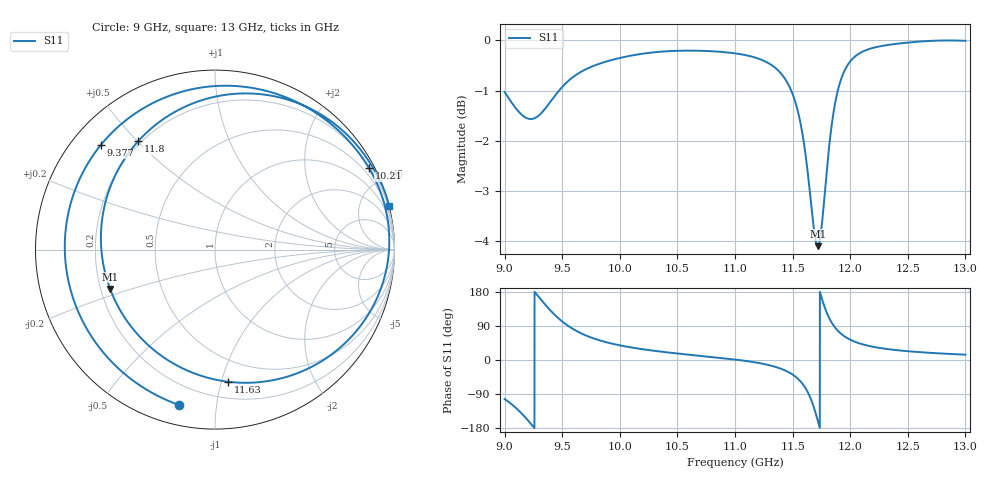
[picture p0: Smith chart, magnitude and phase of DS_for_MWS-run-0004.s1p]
! TOUCHSTONE file generated by CST DESIGN STUDIO
! Date and time: Tue Feb  4 13:58:06 2025
! Project name: C:\Work\MatlabApps\UnitCellOptimizationMatlab\CST\unitcell.cst
! Tree item: Tasks\Sweep1\SPara1\S-Parameters
! Header version: 2024
! Port assignment regex: !\s*Touchstone port\s*([0-9]+)\s*=\s*(CST MWS port|CST DES external port|CST DES block port)\s*(.+)\s* \(\"(.*)\"\)(\s*mode\s*([0-9]+))?.*
! Touchstone port assignment:
! Touchstone port 1 = CST DES external port 1 ("")
# GHz S MA R 50
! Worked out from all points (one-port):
!   4001 points, 9 GHz to 13 GHz, reference 50 ohm
!   lowest |S11| = -4.1 dB at 11.72 GHz (marker M1), VSWR 4.32, Z = 11.9 - j8.6 ohm
!   |S11| at or under -10 dB: nowhere
!   S11 on the Smith chart (normalised r, x): 9 GHz: 0.10, -0.79; 9.377 GHz: 0.08, +0.39; 10.21 GHz: 0.26, +4.02; 11.63 GHz: 0.32, -1.05; 11.8 GHz: 0.19, +0.50; 13 GHz: 0.02, +8.08
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9  0.8885 -103.0
9.115  0.8513 -131.2
9.226  0.8353 -167.6
9.299  0.8425 165.5
9.377  0.8626 137.6
9.437  0.8811 118.6
9.5  0.8989 101.7
9.607  0.9219 79.5
9.717  0.9376 63.3
10  0.9607 38.7
10.212  0.9707 27.8
10.5  0.9766 17.2
11  0.971 1.2
11.328  0.9433 -16.2
11.5  0.8845 -38.4
11.57  0.8258 -56.9
11.631  0.7395 -84.5
11.675  0.6635 -116.4
11.718  0.6241 -159.4
11.754  0.6555 162.1
11.796  0.7405 125.3
11.83  0.8079 103.5
11.869  0.8662 85.6
11.93  0.9212 66.9
12  0.9531 53.6
12.181  0.982 35.9
12.5  0.9952 23.2
13  0.9993 14.1
